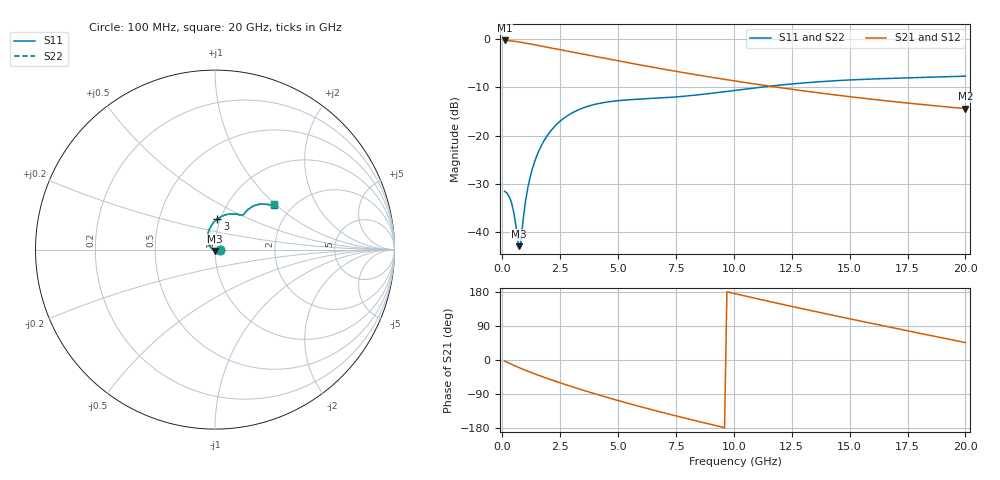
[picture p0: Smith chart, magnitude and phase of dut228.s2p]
! Touchstone file exported from HFSS 2023.1.0
!  File:  D:/Users/fzz/RDL_TSV/temp_RDL_TSV_228_1778758441.aedt
!  Generated:  7:46:48 %x4E0B%x5348  5%x6708 14, 2026
!  Design:  RDL_TSV
!  Project:  temp_RDL_TSV_228_1778758441
!  Setup:  Setup1
!  Solution:  Sweep
! Variables:
!  dtsv = 21.33um
!  hbump = 3um
!  htsv = 72.02um
!  ldown = 478.59um
!  lrdl = 699.63um
!  p = 40
!  p1 = 53.98um
!  rhole = 10um
!  subl = 4234.29um
!  t = 450um
!  tdown = 4.16um
!  trdl = 2.65um
!  viad = 10um
!  wdown = 25.69um
!  wrdl = 16.55um
!  xbump = 18um
# GHz S MA R 50.000000
! Terminal data exported
! Port[1] = TM1_1_T1
! Port[2] = TM1_4_T1
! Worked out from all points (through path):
!   200 points, 100 MHz to 20 GHz, reference 50 ohm
!   highest |S21| = -0.24 dB at 100 MHz (marker M1); lowest = -14.4 dB at 20 GHz (marker M2)
!   group delay of S21, straight-line fit = 41.4 ps
!   lowest |S11| = -42.9 dB at 700 MHz (marker M3), VSWR 1.01, Z = 50 - j0.712 ohm
!   |S11| at or under -10 dB: start of sweep to 11.07 GHz
!   |S22| runs from -42.9 to -7.6 dB; largest |S21 - S12| = 2.6e-14
!   S11 on the Smith chart (normalised r, x): 100 MHz: 1.05, -0.00; 3 GHz: 0.97, +0.34; 20 GHz: 1.62, +0.98
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0.1  0.02643 -5.1  0.9722 -2.9  0.9722 -2.9  0.02643 -5.1
! Gamma 0 0 0 0
! Port Impedance 50 0 50 0
0.3  0.02328 -18.3  0.9661 -8.6  0.9661 -8.6  0.02329 -18.3
0.4  0.02005 -26.8  0.9611 -11.4  0.9611 -11.4  0.02006 -26.9
0.5  0.01588 -37.7  0.9549 -14.2  0.9549 -14.2  0.0159 -37.8
0.7  0.007124 -90.8  0.9398 -19.5  0.9398 -19.5  0.007169 -90.6
0.8  0.007757 -151.0  0.9314 -22.1  0.9314 -22.1  0.007756 -150.4
0.9  0.01334 176.1  0.9225 -24.7  0.9225 -24.7  0.0133 176.4
1  0.02061 160.7  0.9134 -27.2  0.9134 -27.2  0.02053 160.9
1.1  0.02855 151.2  0.9041 -29.6  0.9041 -29.6  0.02845 151.3
1.3  0.0454 138.2  0.8854 -34.3  0.8854 -34.3  0.04525 138.3
1.5  0.06272 128.6  0.8668 -38.9  0.8668 -38.9  0.06253 128.7
2.1  0.1125 107.4  0.8134 -52.0  0.8134 -52.0  0.1122 107.4
3  0.1713 85.6  0.7396 -70.3  0.7396 -70.3  0.1708 85.6
3.5  0.1943 76.6  0.7013 -79.9  0.7013 -79.9  0.1937 76.7
5.1  0.2319 58.5  0.5916 -108.7  0.5916 -108.7  0.2311 58.6
6.8  0.2456 51.6  0.4975 -136.6  0.4975 -136.6  0.2448 51.8
8.3  0.2626 50.8  0.4312 -159.6  0.4312 -159.6  0.2621 51.1
10.1  0.296 50.1  0.3675 174.3  0.3675 174.3  0.2961 50.4
11.7  0.3289 48.0  0.3223 152.2  0.3223 152.2  0.3293 48.3
13.4  0.3583 44.9  0.2833 129.5  0.2833 129.5  0.3589 45.1
16.7  0.3923 39.5  0.2281 87.2  0.2281 87.2  0.3933 39.6
20  0.4142 37.2  0.1907 45.9  0.1907 45.9  0.4153 37.3
